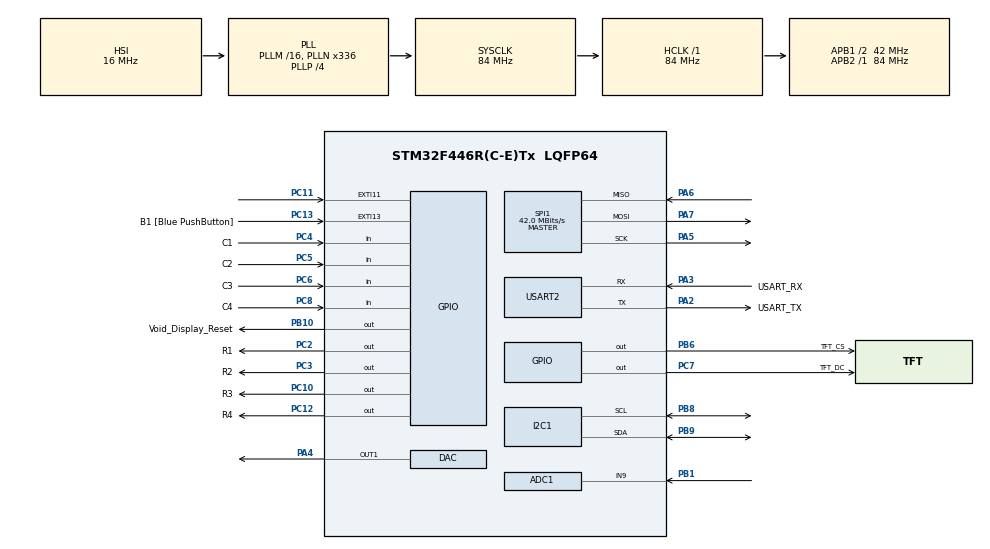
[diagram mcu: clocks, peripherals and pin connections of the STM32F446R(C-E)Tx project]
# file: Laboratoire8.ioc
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ADC1.Channel-1\#ChannelRegularConversion=ADC_CHANNEL_9
ADC1.DMAContinuousRequests=ENABLE
ADC1.ExternalTrigConv=ADC_EXTERNALTRIGCONV_T2_TRGO
ADC1.NbrOfConversionFlag=1
ADC1.Rank-1\#ChannelRegularConversion=1
ADC1.SamplingTime-1\#ChannelRegularConversion=ADC_SAMPLETIME_3CYCLES
ADC1.master=1
DAC.DAC_Trigger=DAC_TRIGGER_T2_TRGO
Dma.ADC1.1.Direction=DMA_PERIPH_TO_MEMORY
Dma.ADC1.1.FIFOMode=DMA_FIFOMODE_DISABLE
Dma.ADC1.1.Instance=DMA2_Stream0
Dma.ADC1.1.MemDataAlignment=DMA_MDATAALIGN_WORD
Dma.ADC1.1.MemInc=DMA_MINC_ENABLE
Dma.ADC1.1.Mode=DMA_CIRCULAR
Dma.ADC1.1.PeriphDataAlignment=DMA_PDATAALIGN_WORD
Dma.ADC1.1.PeriphInc=DMA_PINC_DISABLE
Dma.ADC1.1.Priority=DMA_PRIORITY_HIGH
Dma.DAC1.2.Direction=DMA_MEMORY_TO_PERIPH
Dma.DAC1.2.FIFOMode=DMA_FIFOMODE_DISABLE
Dma.DAC1.2.Instance=DMA1_Stream5
Dma.DAC1.2.MemDataAlignment=DMA_MDATAALIGN_WORD
Dma.DAC1.2.MemInc=DMA_MINC_ENABLE
Dma.DAC1.2.Mode=DMA_CIRCULAR
Dma.DAC1.2.PeriphDataAlignment=DMA_PDATAALIGN_WORD
Dma.DAC1.2.PeriphInc=DMA_PINC_DISABLE
Dma.DAC1.2.Priority=DMA_PRIORITY_HIGH
Dma.I2C1_RX.3.Direction=DMA_PERIPH_TO_MEMORY
Dma.I2C1_RX.3.FIFOMode=DMA_FIFOMODE_DISABLE
Dma.I2C1_RX.3.Instance=DMA1_Stream0
Dma.I2C1_RX.3.MemDataAlignment=DMA_MDATAALIGN_BYTE
Dma.I2C1_RX.3.MemInc=DMA_MINC_ENABLE
Dma.I2C1_RX.3.Mode=DMA_NORMAL
Dma.I2C1_RX.3.PeriphDataAlignment=DMA_PDATAALIGN_BYTE
Dma.I2C1_RX.3.PeriphInc=DMA_PINC_DISABLE
Dma.I2C1_RX.3.Priority=DMA_PRIORITY_HIGH
Dma.I2C1_TX.4.Direction=DMA_MEMORY_TO_PERIPH
Dma.I2C1_TX.4.FIFOMode=DMA_FIFOMODE_DISABLE
Dma.I2C1_TX.4.Instance=DMA1_Stream6
Dma.I2C1_TX.4.MemDataAlignment=DMA_MDATAALIGN_BYTE
Dma.I2C1_TX.4.MemInc=DMA_MINC_ENABLE
Dma.I2C1_TX.4.Mode=DMA_NORMAL
Dma.I2C1_TX.4.PeriphDataAlignment=DMA_PDATAALIGN_BYTE
Dma.I2C1_TX.4.PeriphInc=DMA_PINC_DISABLE
Dma.I2C1_TX.4.Priority=DMA_PRIORITY_HIGH
Dma.Request0=SPI1_TX
Dma.Request1=ADC1
Dma.Request2=DAC1
Dma.Request3=I2C1_RX
Dma.Request4=I2C1_TX
Dma.SPI1_TX.0.Direction=DMA_MEMORY_TO_PERIPH
Dma.SPI1_TX.0.FIFOMode=DMA_FIFOMODE_DISABLE
Dma.SPI1_TX.0.Instance=DMA2_Stream3
Dma.SPI1_TX.0.MemDataAlignment=DMA_MDATAALIGN_BYTE
Dma.SPI1_TX.0.MemInc=DMA_MINC_ENABLE
Dma.SPI1_TX.0.Mode=DMA_NORMAL
Dma.SPI1_TX.0.PeriphDataAlignment=DMA_PDATAALIGN_BYTE
Dma.SPI1_TX.0.PeriphInc=DMA_PINC_DISABLE
Dma.SPI1_TX.0.Priority=DMA_PRIORITY_LOW
I2C1.I2C_Mode=I2C_Fast
Mcu.Family=STM32F4
Mcu.Name=STM32F446R(C-E)Tx
Mcu.Package=LQFP64
NVIC.DMA1_Stream0_IRQn=true\:0\:0\:false\:false\:true\:false\:true\:true
NVIC.DMA1_Stream5_IRQn=true\:0\:0\:false\:false\:true\:false\:true\:true
NVIC.DMA1_Stream6_IRQn=true\:0\:0\:false\:false\:true\:false\:true\:true
NVIC.DMA2_Stream0_IRQn=true\:0\:0\:false\:false\:true\:false\:true\:true
NVIC.DMA2_Stream3_IRQn=true\:0\:0\:false\:false\:true\:false\:true\:true
NVIC.EXTI15_10_IRQn=true\:0\:0\:false\:false\:true\:true\:true\:true
NVIC.I2C1_ER_IRQn=true\:0\:0\:false\:false\:true\:true\:true\:true
NVIC.I2C1_EV_IRQn=true\:0\:0\:false\:false\:true\:true\:true\:true
NVIC.PriorityGroup=NVIC_PRIORITYGROUP_0
NVIC.SPI1_IRQn=true\:0\:0\:false\:false\:true\:true\:true\:true
PA13.GPIO_Label=TMS
PA13.Mode=Serial_Wire
PA13.Signal=SYS_JTMS-SWDIO
PA14.GPIO_Label=TCK
PA14.Mode=Serial_Wire
PA14.Signal=SYS_JTCK-SWCLK
PA2.GPIO_Label=USART_TX
PA2.Mode=Asynchronous
PA2.Signal=USART2_TX
PA3.GPIO_Label=USART_RX
PA3.Mode=Asynchronous
PA3.Signal=USART2_RX
PA4.Signal=COMP_DAC1_group
PA5.Mode=Full_Duplex_Master
PA5.Signal=SPI1_SCK
PA6.Mode=Full_Duplex_Master
PA6.Signal=SPI1_MISO
PA7.Mode=Full_Duplex_Master
PA7.Signal=SPI1_MOSI
PB1.Signal=ADCx_IN9
PB10.GPIO_Label=Void_Display_Reset
PB10.Signal=GPIO_Output
PB3.GPIO_Label=SWO
PB3.Signal=SYS_JTDO-SWO
PB6.GPIO_Label=TFT_CS
PB6.Signal=GPIO_Output
PB8.Mode=I2C
PB8.Signal=I2C1_SCL
PB9.Mode=I2C
PB9.Signal=I2C1_SDA
PC10.GPIO_Label=R3
PC10.GPIO_ModeDefaultOutputPP=GPIO_MODE_OUTPUT_OD
PC10.GPIO_PuPd=GPIO_NOPULL
PC10.Signal=GPIO_Output
PC11.Signal=GPXTI11
PC12.GPIO_Label=R4
PC12.GPIO_ModeDefaultOutputPP=GPIO_MODE_OUTPUT_OD
PC12.GPIO_PuPd=GPIO_NOPULL
PC12.Signal=GPIO_Output
PC13.GPIO_Label=B1 [Blue PushButton]
PC13.GPIO_ModeDefaultEXTI=GPIO_MODE_IT_FALLING
PC13.Signal=GPXTI13
PC14-OSC32_IN.Mode=LSE-External-Oscillator
PC14-OSC32_IN.Signal=RCC_OSC32_IN
PC15-OSC32_OUT.Mode=LSE-External-Oscillator
PC15-OSC32_OUT.Signal=RCC_OSC32_OUT
PC2.GPIO_Label=R1
PC2.GPIO_ModeDefaultOutputPP=GPIO_MODE_OUTPUT_OD
PC2.GPIO_PuPd=GPIO_NOPULL
PC2.Signal=GPIO_Output
PC3.GPIO_Label=R2
PC3.GPIO_ModeDefaultOutputPP=GPIO_MODE_OUTPUT_OD
PC3.GPIO_PuPd=GPIO_NOPULL
PC3.Signal=GPIO_Output
PC4.GPIO_Label=C1
PC4.GPIO_PuPd=GPIO_PULLUP
PC4.Signal=GPIO_Input
PC5.GPIO_Label=C2
PC5.GPIO_PuPd=GPIO_PULLUP
PC5.Signal=GPIO_Input
PC6.GPIO_Label=C3
PC6.GPIO_PuPd=GPIO_PULLUP
PC6.Signal=GPIO_Input
PC7.GPIO_Label=TFT_DC
PC7.Signal=GPIO_Output
PC8.GPIO_Label=C4
PC8.GPIO_PuPd=GPIO_PULLUP
PC8.Signal=GPIO_Input
PH0-OSC_IN.Mode=HSE-External-Oscillator
PH0-OSC_IN.Signal=RCC_OSC_IN
PH1-OSC_OUT.Mode=HSE-External-Oscillator
PH1-OSC_OUT.Signal=RCC_OSC_OUT
ProjectManager.HeapSize=0x200
ProjectManager.StackSize=0x400
ProjectManager.TargetToolchain=MDK-ARM V5.32
RCC.48MHZClocksFreq_Value=84000000
RCC.AHBFreq_Value=84000000
RCC.APB1CLKDivider=RCC_HCLK_DIV2
RCC.APB1Freq_Value=42000000
RCC.APB1TimFreq_Value=84000000
RCC.APB2Freq_Value=84000000
RCC.APB2TimFreq_Value=84000000
RCC.CortexFreq_Value=84000000
RCC.FLatency-AdvancedSettings=FLASH_LATENCY_2
RCC.HCLKFreq_Value=84000000
RCC.HSE_VALUE=8000000
RCC.HSI_VALUE=16000000
RCC.PLLN=336
RCC.PLLP=RCC_PLLP_DIV4
RCC.SYSCLKFreq_VALUE=84000000
RCC.SYSCLKSource=RCC_SYSCLKSOURCE_PLLCLK
RCC.USBFreq_Value=168000000
RCC.VCOOutputFreq_Value=336000000
SH.ADCx_IN9.0=ADC1_IN9,IN9
SH.COMP_DAC1_group.0=DAC_OUT1,DAC_OUT1
SPI1.CalculateBaudRate=42.0 MBits/s
SPI1.Direction=SPI_DIRECTION_2LINES
SPI1.Mode=SPI_MODE_MASTER
SPI1.VirtualType=VM_MASTER
TIM2.Period=24
TIM2.Prescaler=83
TIM2.TIM_MasterOutputTrigger=TIM_TRGO_UPDATE
USART2.VirtualMode=VM_ASYNC
VP_TIM2_VS_ClockSourceINT.Mode=Internal
board=NUCLEO-F446RE

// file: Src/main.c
/* USER CODE BEGIN Header */
/**
  ******************************************************************************
  * @file           : main.c
  * @brief          : Main program body
  ******************************************************************************
  * @attention
  *
  * Copyright (c) 2024 STMicroelectronics.
  * All rights reserved.
  *
  * This software is licensed under terms that can be found in the LICENSE file
  * in the root directory of this software component.
  * If no LICENSE file comes with this software, it is provided AS-IS.
  *
  ******************************************************************************
  */

/* USER CODE END Header */
#include "main.h"
#include "adc.h"
#include "dac.h"
#include "dma.h"
#include "i2c.h"
#include "spi.h"
#include "tim.h"
#include "usart.h"
#include "gpio.h"

/* USER CODE BEGIN Includes */
#include "stdio.h"
#include "math.h"

#include "ili9341.h"
#include "ili9341_gfx.h"
/* USER CODE END Includes */

/* USER CODE BEGIN PD */

#define MPU6050_ADDR 0x68<<1
#define WHO_AM_I_REG 0x75
#define PWR_MGMT_1_REG 0x6B
#define GYRO_CONFIG_REG 0x1B
#define ACCEL_CONFIG_REG 0x1C
#define CONFIG_REG 0x1A
#define INT_ENABLE_REG 0x38
#define ACCEL_XOUT_H_REG 0x3B
#define GYRO_XOUT_H_REG 0x43

/* USER CODE END PD */

/* USER CODE BEGIN PV */
ili9341_t *_screen;
float Ax;
float Ay;
float Az;
int16_t Accel_X_RAW, Accel_Y_RAW, Accel_Z_RAW;
int16_t Gyro_X_RAW, Gyro_Y_RAW, Gyro_Z_RAW;

/* USER CODE END PV */

void SystemClock_Config(void);
/* USER CODE BEGIN PFP */

void AccelInnit(void) {
	HAL_Delay(1000);
	ili9341_text_attr_t text_attr = {&ili9341_font_11x18,ILI9341_WHITE,	ILI9341_BLACK,0,0};

	if (HAL_I2C_IsDeviceReady(&hi2c1, MPU6050_ADDR, 100, 1000)!=HAL_OK) {
		char buf[80];
		sprintf(buf,"Error: device not ready");
		ili9341_draw_string(_screen, text_attr, buf);
		HAL_Delay(1000);
		NVIC_SystemReset();
	} else {
		char buf[80];
		sprintf(buf,"device ready!");
		ili9341_draw_string(_screen, text_attr, buf);
	}

	uint8_t data;
	HAL_I2C_Mem_Read_DMA(&hi2c1, MPU6050_ADDR, WHO_AM_I_REG, 1, &data, 1) ;
	HAL_Delay(1000);
	if (data != 104) {
		char buf[80];
		sprintf(buf,"Error : WHO_AM_I\r\n %u", data);
		text_attr.origin_y += 20;
		ili9341_draw_string(_screen, text_attr, buf);
	} else {
		char buf[80];
		sprintf(buf,"WHO_AM_I : OK!\r\n");
		text_attr.origin_y += 20;
		ili9341_draw_string(_screen, text_attr, buf);
	}

	// RESET SLEEP MODE, SELECT INTERNAL CLOCK
	data = 0;
	HAL_I2C_Mem_Write_DMA(&hi2c1, MPU6050_ADDR, PWR_MGMT_1_REG, 1, &data, 1);
	char buf[80];
	sprintf(buf,"PWR_MGMT_1 : OK!");
	text_attr.origin_y += 20;
	ili9341_draw_string(_screen, text_attr, buf);

	// FS_SEL = ±250°/s, DESACTIVER SELFTEST
	data = 0;
	HAL_I2C_Mem_Write_DMA(&hi2c1, MPU6050_ADDR, GYRO_CONFIG_REG, 1, &data, 1);
	sprintf(buf,"GYRO_CONFIG : OK!");
	text_attr.origin_y += 20;
	ili9341_draw_string(_screen, text_attr, buf);

	// AFS_SEL = ±2g, DESACTIVER SELFTEST
	data = 0;
	HAL_I2C_Mem_Write_DMA(&hi2c1, MPU6050_ADDR, ACCEL_CONFIG_REG, 1, &data, 1);
	sprintf(buf,"ACCEL_CONFIG : OK!");
	text_attr.origin_y += 20;
	ili9341_draw_string(_screen, text_attr, buf);

	// Bandwidth = 94
	data = 2;
	HAL_I2C_Mem_Write_DMA(&hi2c1, MPU6050_ADDR, CONFIG_REG, 1, &data, 1);
	sprintf(buf,"CONFIG : OK!");
	text_attr.origin_y += 20;
	ili9341_draw_string(_screen, text_attr, buf);

	// DATA_RDY_EN = 1
	data = 1;
	HAL_I2C_Mem_Write_DMA(&hi2c1, MPU6050_ADDR, INT_ENABLE_REG, 1, &data, 1);
	sprintf(buf,"INT_ENABLE : OK!");
	text_attr.origin_y += 20;
	ili9341_draw_string(_screen, text_attr, buf);
	HAL_Delay(3000);
	ili9341_fill_screen(_screen, ILI9341_BLACK);
	text_attr.origin_y = 0;
};

void MPU6050_Read_Accel (float* Ax, float* Ay, float* Az)
{ // les données viennes en bytes, mais les valeur sont enregistrer en H-W
	uint8_t Rec_Data[6];

	HAL_I2C_Mem_Read_DMA(&hi2c1, MPU6050_ADDR, ACCEL_XOUT_H_REG, 1, Rec_Data, 6);
	HAL_Delay(200);

	//Adding 2 BYTES into 16 bit integer
	Accel_X_RAW = (int16_t)(Rec_Data[0] << 8 | Rec_Data [1]);
	Accel_Y_RAW = (int16_t)(Rec_Data[2] << 8 | Rec_Data [3]);
	Accel_Z_RAW = (int16_t)(Rec_Data[4] << 8 | Rec_Data [5]);

	*Ax = Accel_X_RAW*100/16384.0;
	*Ay = Accel_Y_RAW*100/16384.0;
	*Az = Accel_Z_RAW*100/16384.0;
}

void MPU6050_Read_Gyro(float* Gx, float* Gy, float* Gz)
{
    uint8_t Rec_Data[6];
    HAL_I2C_Mem_Read_DMA(&hi2c1, MPU6050_ADDR, GYRO_XOUT_H_REG, 1, Rec_Data, 6);
		HAL_Delay(200);

    // Correctly assign raw data values for each axis
    Gyro_X_RAW = (int16_t)(Rec_Data[0] << 8 | Rec_Data[1]);
    Gyro_Y_RAW = (int16_t)(Rec_Data[2] << 8 | Rec_Data[3]);
    Gyro_Z_RAW = (int16_t)(Rec_Data[4] << 8 | Rec_Data[5]);

    *Gx = Gyro_X_RAW / 131.0;
    *Gy = Gyro_Y_RAW / 131.0;
    *Gz = Gyro_Z_RAW / 131.0;
}

/* USER CODE END PFP */

int main(void)
{

  /* MCU Configuration--------------------------------------------------------*/

  /* Reset of all peripherals, Initializes the Flash interface and the Systick. */
  HAL_Init();

  /* Configure the system clock */
  SystemClock_Config();

  /* Initialize all configured peripherals */
  MX_GPIO_Init();
  MX_DMA_Init();
  MX_USART2_UART_Init();
  MX_SPI1_Init();
  MX_ADC1_Init();
  MX_TIM2_Init();
  MX_DAC_Init();
  MX_I2C1_Init();
  /* USER CODE BEGIN 2 */
	_screen = ili9341_new(
		&hspi1,
		Void_Display_Reset_GPIO_Port, Void_Display_Reset_Pin,
		TFT_CS_GPIO_Port, TFT_CS_Pin,
		TFT_DC_GPIO_Port, TFT_DC_Pin,
		isoLandscape,
		NULL, NULL,
		NULL, NULL,
		itsNotSupported,
		itnNormalized);

	ili9341_fill_screen(_screen, ILI9341_BLACK);
	ili9341_text_attr_t text_attr = {&ili9341_font_11x18, ILI9341_WHITE, ILI9341_BLACK,0,0};

  /* USER CODE END 2 */

  /* Infinite loop */
  /* USER CODE BEGIN WHILE */

	HAL_TIM_Base_Start(&htim2);
	AccelInnit();
  while (1)
  {
		MPU6050_Read_Accel(&Ax, &Ay, &Az);
		char buf[100];
		sprintf(buf,"x: %f\r\ny: %f\r\nz: %f", Ax, Ay, Az);
		ili9341_draw_string(_screen, text_attr, buf);
		};

  /* USER CODE END 3 */
}

void SystemClock_Config(void)
{
  RCC_OscInitTypeDef RCC_OscInitStruct = {0};
  RCC_ClkInitTypeDef RCC_ClkInitStruct = {0};

  /** Configure the main internal regulator output voltage
  */
  __HAL_RCC_PWR_CLK_ENABLE();
  __HAL_PWR_VOLTAGESCALING_CONFIG(PWR_REGULATOR_VOLTAGE_SCALE3);

  /** Initializes the RCC Oscillators according to the specified parameters
  * in the RCC_OscInitTypeDef structure.
  */
  RCC_OscInitStruct.OscillatorType = RCC_OSCILLATORTYPE_HSI;
  RCC_OscInitStruct.HSIState = RCC_HSI_ON;
  RCC_OscInitStruct.HSICalibrationValue = RCC_HSICALIBRATION_DEFAULT;
  RCC_OscInitStruct.PLL.PLLState = RCC_PLL_ON;
  RCC_OscInitStruct.PLL.PLLSource = RCC_PLLSOURCE_HSI;
  RCC_OscInitStruct.PLL.PLLM = 16;
  RCC_OscInitStruct.PLL.PLLN = 336;
  RCC_OscInitStruct.PLL.PLLP = RCC_PLLP_DIV4;
  RCC_OscInitStruct.PLL.PLLQ = 2;
  RCC_OscInitStruct.PLL.PLLR = 2;
  if (HAL_RCC_OscConfig(&RCC_OscInitStruct) != HAL_OK)
  {
    Error_Handler();
  }

  /** Initializes the CPU, AHB and APB buses clocks
  */
  RCC_ClkInitStruct.ClockType = RCC_CLOCKTYPE_HCLK|RCC_CLOCKTYPE_SYSCLK
                              |RCC_CLOCKTYPE_PCLK1|RCC_CLOCKTYPE_PCLK2;
  RCC_ClkInitStruct.SYSCLKSource = RCC_SYSCLKSOURCE_PLLCLK;
  RCC_ClkInitStruct.AHBCLKDivider = RCC_SYSCLK_DIV1;
  RCC_ClkInitStruct.APB1CLKDivider = RCC_HCLK_DIV2;
  RCC_ClkInitStruct.APB2CLKDivider = RCC_HCLK_DIV1;

  if (HAL_RCC_ClockConfig(&RCC_ClkInitStruct, FLASH_LATENCY_2) != HAL_OK)
  {
    Error_Handler();
  }
}

/* USER CODE BEGIN 4 */
int fputc(int ch, FILE *f)
{
 /* Place your implementation of fputc here */
 /* e.g. write a character to the USART2 and Loop until the end of transmission */
	HAL_UART_Transmit(&huart2, (uint8_t *)&ch, 1, 0xFFFF);
	return ch;
}

/* USER CODE END 4 */

void Error_Handler(void)
{
  __disable_irq();
  while (1)
  {
  }
}
